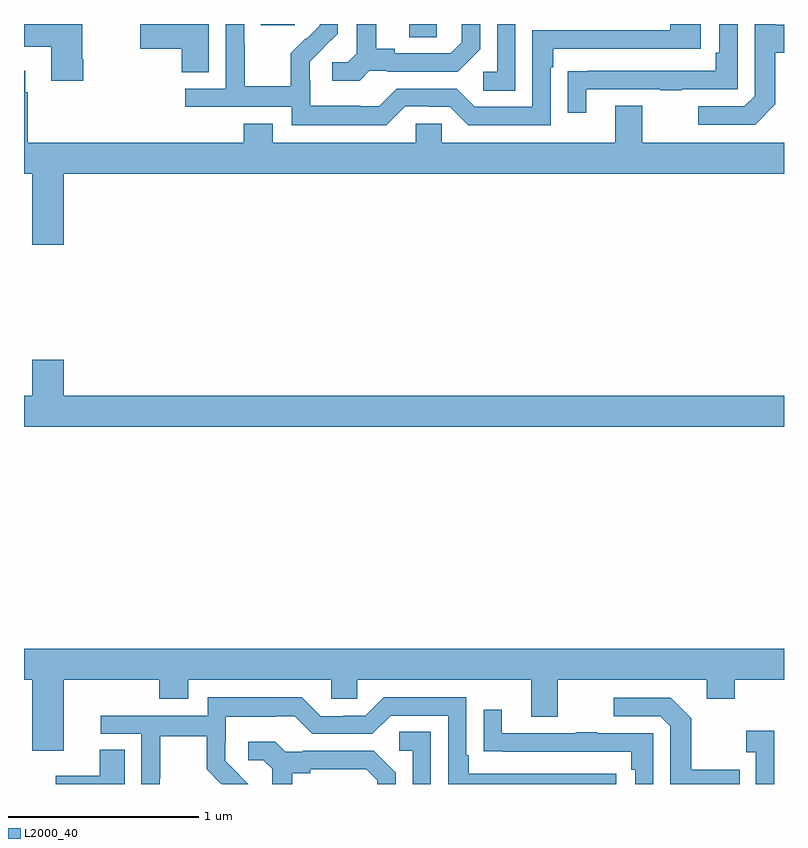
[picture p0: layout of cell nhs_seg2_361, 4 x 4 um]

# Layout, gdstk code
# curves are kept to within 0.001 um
import gdstk
lib = gdstk.Library(unit=1e-6, precision=1e-09)
def R(c, l, rs):  # rectangles x0, y0, x1, y1
    for r in rs: c.add(gdstk.rectangle(r[:2], r[2:], *l))
def P(c, l, *ps):  # polygons
    for p in ps: c.add(gdstk.Polygon(p, *l))
L2000_40 = (2000, 40)

nhs_seg2_361 = lib.new_cell('nhs_seg2_361')
R(nhs_seg2_361, L2000_40, [(131.027,605.731,131.172,605.8), (130.247,605.793,130.426,605.8)])
P(nhs_seg2_361, L2000_40, [(129.311,605.614),(129.306,605.614),(129.306,605.8),(129,605.8),(129,605.681),(129.143,605.681),(129.143,605.502),(129.311,605.502)],
  [(129.973,605.8),(129.612,605.8),(129.612,605.669),(129.83,605.669),(129.83,605.545),(129.973,605.545)],
  [(130.818,605.553),(130.912,605.553),(130.912,605.55),(131.284,605.55),(131.4,605.666),(131.4,605.8),(131.303,605.8),(131.303,605.703),(131.246,605.646),(130.951,605.646),(130.951,605.669),(130.855,605.669),(130.855,605.8),(130.751,605.8),(130.751,605.645),(130.704,605.598),(130.623,605.598),(130.623,605.501),(130.766,605.501)],
  [(131.586,605.8),(131.49,605.8),(131.49,605.55),(131.418,605.55),(131.418,605.449),(131.586,605.449)],
  [(131.007,605.367),(131.123,605.367),(131.123,605.364),(131.241,605.364),(131.337,605.268),(131.772,605.268),(131.772,605.573),(131.785,605.573),(131.785,605.67),(132.562,605.67),(132.562,605.8),(132.401,605.8),(132.401,605.766),(131.676,605.766),(131.676,605.364),(131.373,605.364),(131.277,605.46),(130.962,605.46),(130.869,605.367),(130.769,605.367),(130.769,605.371),(130.506,605.371),(130.506,605.505),(130.504,605.505),(130.504,605.602),(130.65,605.75),(130.65,605.8),(130.556,605.8),(130.556,605.792),(130.485,605.721),(130.482,605.724),(130.405,605.647),(130.405,605.473),(130.161,605.473),(130.161,605.696),(130.158,605.696),(130.158,605.8),(130.062,605.8),(130.062,605.46),(129.849,605.46),(129.849,605.364),(130.41,605.364),(130.41,605.267),(130.907,605.267)],
  [(132.955,605.377),(132.955,605.65),(133,605.65),(133,605.797),(132.955,605.797),(132.955,605.8),(132.846,605.8),(132.846,605.421),(132.792,605.367),(132.549,605.367),(132.549,605.271),(132.849,605.271)],
  [(131.959,605.457),(132.349,605.457),(132.349,605.452),(132.461,605.452),(132.461,605.457),(132.756,605.457),(132.756,605.8),(132.66,605.8),(132.66,605.65),(132.64,605.65),(132.64,605.553),(131.965,605.553),(131.965,605.552),(131.863,605.552),(131.863,605.334),(131.959,605.334)],
  [(129.208,605.012),(133,605.012),(133,605.176),(132.253,605.176),(132.253,605.371),(132.113,605.371),(132.113,605.176),(131.199,605.176),(131.199,605.274),(131.061,605.274),(131.061,605.176),(130.309,605.176),(130.309,605.275),(130.157,605.275),(130.157,605.176),(129.02,605.176),(129.02,605.441),(129.007,605.441),(129.007,605.554),(129,605.554),(129,605.012),(129.044,605.012),(129.044,604.638),(129.208,604.638)],
  [(133,603.844),(129.208,603.844),(129.208,604.033),(129.044,604.033),(129.044,603.844),(129,603.844),(129,603.68),(133,603.68)],
  [(129.208,602.348),(129.713,602.348),(129.713,602.249),(129.865,602.249),(129.865,602.348),(130.617,602.348),(130.617,602.25),(130.755,602.25),(130.755,602.348),(131.669,602.348),(131.669,602.154),(131.809,602.154),(131.809,602.348),(132.593,602.348),(132.593,602.249),(132.741,602.249),(132.741,602.348),(133,602.348),(133,602.512),(129,602.512),(129,602.348),(129.044,602.348),(129.044,601.974),(129.208,601.974)],
  [(129.714,601.828),(129.717,601.828),(129.717,602.052),(129.961,602.052),(129.961,601.877),(130.038,601.8),(130.041,601.803),(130.044,601.8),(130.18,601.8),(130.06,601.922),(130.06,602.019),(130.062,602.019),(130.062,602.153),(130.325,602.153),(130.325,602.157),(130.425,602.157),(130.518,602.064),(130.833,602.064),(130.929,602.16),(131.232,602.16),(131.232,601.8),(132.118,601.8),(132.118,601.854),(131.341,601.854),(131.341,601.951),(131.328,601.951),(131.328,602.256),(130.893,602.256),(130.797,602.16),(130.679,602.16),(130.679,602.157),(130.563,602.157),(130.463,602.257),(129.966,602.257),(129.966,602.16),(129.405,602.16),(129.405,602.064),(129.618,602.064),(129.618,601.8),(129.714,601.8)],
  [(132.767,601.875),(132.511,601.875),(132.511,602.147),(132.405,602.253),(132.105,602.253),(132.105,602.157),(132.348,602.157),(132.402,602.103),(132.402,601.8),(132.767,601.8)],
  [(132.312,602.067),(132.017,602.067),(132.017,602.072),(131.905,602.072),(131.905,602.067),(131.515,602.067),(131.515,602.191),(131.419,602.191),(131.419,601.972),(131.521,601.972),(131.521,601.971),(132.196,601.971),(132.196,601.874),(132.216,601.874),(132.216,601.8),(132.312,601.8)],
  [(132.948,602.08),(132.801,602.08),(132.801,601.967),(132.852,601.967),(132.852,601.8),(132.948,601.8)],
  [(131.142,602.075),(130.974,602.075),(130.974,601.974),(131.046,601.974),(131.046,601.8),(131.142,601.8)],
  [(130.411,601.856),(130.507,601.856),(130.507,601.878),(130.802,601.878),(130.859,601.821),(130.859,601.8),(130.956,601.8),(130.956,601.858),(130.84,601.974),(130.468,601.974),(130.468,601.971),(130.374,601.971),(130.322,602.023),(130.179,602.023),(130.179,601.926),(130.26,601.926),(130.307,601.879),(130.307,601.8),(130.411,601.8)],
  [(129.529,601.979),(129.398,601.979),(129.398,601.843),(129.168,601.843),(129.168,601.8),(129.529,601.8)])

lib.write_gds('nhs_seg2_361.gds')
